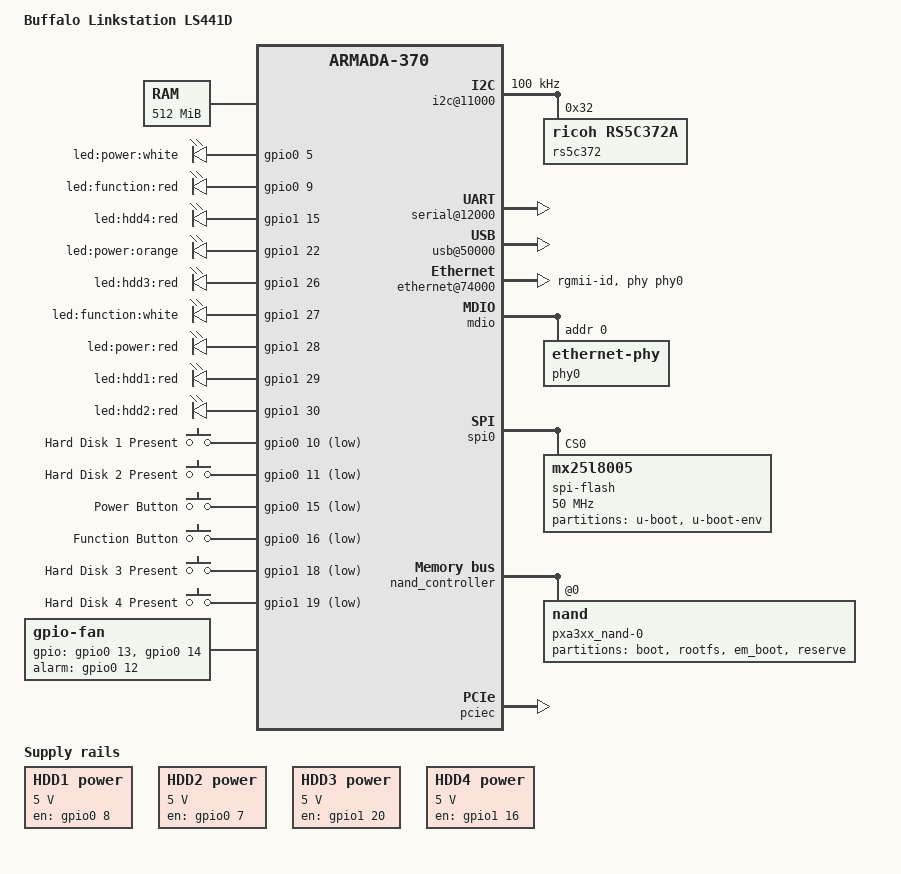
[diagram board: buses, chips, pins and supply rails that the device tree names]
// SPDX-License-Identifier: (GPL-2.0+ OR MIT)
/*
* Device Tree file for Buffalo Linkstation LS441D
*
* Jeremy J. Peper, based on device trees created by
* Steve Shih <shihsung@gmail.com> and Toha <tohenk@yahoo.com>
*
*/

/dts-v1/;

#include <dt-bindings/input/input.h>
#include <dt-bindings/gpio/gpio.h>
#include "armada-370.dtsi"

/ {
	model = "Buffalo Linkstation LS441D";
	compatible = "buffalo,ls441d", "marvell,armada370", "marvell,armada-370-xp";

	chosen
	{
		bootargs = "earlyprintk boot=local";
		stdout-path = "serial0:115200n8";
	};

	memory
	{
		device_type = "memory";
		reg = <0x00000000 0x20000000>; /* 512 MB */
	};

	soc
	{
		ranges = <MBUS_ID(0xf0, 0x01) 0 0xd0000000 0x100000
			MBUS_ID(0x01, 0xe0) 0 0xfff00000 0x100000
			MBUS_ID(0x09, 0x01) 0 0xf1100000 0x10000>;

		internal-regs
		{
			rtc@10300
			{
				status = "disabled";
			};

			i2c@11000
			{
				status = "okay";
				clock-frequency = <100000>;

				rs5c372: rs5c372@32
				{
					compatible = "ricoh,rs5c372a";
					reg = <0x32>;
				};
			};

			serial@12000
			{
				status = "okay";
			};

			timer@20300
			{
				status = "okay";
			};

			usb@50000
			{
				status = "okay";
			};

			ethernet@74000
			{
				status = "okay";
				phy = <&phy0>;
				phy-mode = "rgmii-id";
			};
		};
	};

	regulators
	{
		compatible = "simple-bus";
		#address-cells = <1>;
		#size-cells = <0>;
		pinctrl-0 = <&hdd_pwr1 &hdd_pwr2 &hdd_pwr3 &hdd_pwr4>;
		pinctrl-names = "default";

		regulator@1
		{
			compatible = "regulator-fixed";
			reg = <1>;
			regulator-name = "HDD1 power";
			regulator-min-microvolt = <5000000>;
			regulator-max-microvolt = <5000000>;
			enable-active-high;
			regulator-always-on;
			regulator-boot-on;
			gpio = <&gpio0 8 GPIO_ACTIVE_HIGH>;
		};

		regulator@2
		{
			compatible = "regulator-fixed";
			reg = <2>;
			regulator-name = "HDD2 power";
			regulator-min-microvolt = <5000000>;
			regulator-max-microvolt = <5000000>;
			enable-active-high;
			regulator-always-on;
			regulator-boot-on;
			gpio = <&gpio0 7 GPIO_ACTIVE_HIGH>;
		};

		regulator@3
		{
			compatible = "regulator-fixed";
			reg = <3>;
			regulator-name = "HDD3 power";
			regulator-min-microvolt = <5000000>;
			regulator-max-microvolt = <5000000>;
			enable-active-high;
			regulator-always-on;
			regulator-boot-on;
			gpio = <&gpio1 20 GPIO_ACTIVE_HIGH>;
		};

		regulator@4
		{
			compatible = "regulator-fixed";
			reg = <4>;
			regulator-name = "HDD4 power";
			regulator-min-microvolt = <5000000>;
			regulator-max-microvolt = <5000000>;
			enable-active-high;
			regulator-always-on;
			regulator-boot-on;
			gpio = <&gpio1 16 GPIO_ACTIVE_HIGH>;
		};
	};

	gpio-leds
	{
		compatible = "gpio-leds";
		pinctrl-names = "default";
		pinctrl-0 = <&power_led_white &power_led_red &power_led_orange &function_led_white &function_led_red &hdd1_led_red &hdd2_led_red &hdd3_led_red &hdd4_led_red>;

		power-led-white
		{
			label = "led:power:white";
			gpios = <&gpio0 5 GPIO_ACTIVE_HIGH>;
			default-state = "on";
		};

		function-led-red
		{
			label = "led:function:red";
			gpios = <&gpio0 9 GPIO_ACTIVE_HIGH>;
			default-state = "off";
		};

		hdd4-led-red
		{
			label = "led:hdd4:red";
			gpios = <&gpio1 15 GPIO_ACTIVE_HIGH>;
			default-state = "off";
		};

		power-led-orange
		{
			label = "led:power:orange";
			gpios = <&gpio1 22 GPIO_ACTIVE_HIGH>;
			default-state = "off";
		};

		hdd3-led-red
		{
			label = "led:hdd3:red";
			gpios = <&gpio1 26 GPIO_ACTIVE_HIGH>;
			default-state = "off";
		};

		function-led-white
		{
			label = "led:function:white";
			gpios = <&gpio1 27 GPIO_ACTIVE_HIGH>;
			default-state = "off";
		};

		power-led-red
		{
			label = "led:power:red";
			gpios = <&gpio1 28 GPIO_ACTIVE_HIGH>;
			default-state = "off";
		};

		hdd1-led-red
		{
			label = "led:hdd1:red";
			gpios = <&gpio1 29 GPIO_ACTIVE_HIGH>;
			default-state = "off";
		};

		hdd2-led-red
		{
			label = "led:hdd2:red";
			gpios = <&gpio1 30 GPIO_ACTIVE_HIGH>;
			default-state = "off";
		};
	};

	restart_poweroff
	{
		compatible = "restart-poweroff";
	};

	gpio-keys
	{
		compatible = "gpio-keys";
		pinctrl-0 = <&hdd1_present &hdd2_present &hdd3_present &hdd4_present &power_button &function_button>;
		pinctrl-names = "default";

		hdd1-present
		{
			label = "Hard Disk 1 Present";
			linux,code = <KEY_PROG1>;
			gpios = <&gpio0 10 GPIO_ACTIVE_LOW>;
		};

		hdd2-present
		{
			label = "Hard Disk 2 Present";
			linux,code = <KEY_PROG2>;
			gpios = <&gpio0 11 GPIO_ACTIVE_LOW>;

		};

		power-button
		{
			label = "Power Button";
			linux,code = <KEY_ESC>;
			gpios = <&gpio0 15 GPIO_ACTIVE_LOW>;
		};

		function-button
		{
			label = "Function Button";
			linux,code = <KEY_OPTION>;
			gpios = <&gpio0 16 GPIO_ACTIVE_LOW>;
		};

		hdd3-present
		{
			label = "Hard Disk 3 Present";
			linux,code = <KEY_PROG3>;
			gpios = <&gpio1 18 GPIO_ACTIVE_LOW>;
		};

		hdd4-present
		{
			label = "Hard Disk 4 Present";
			linux,code = <KEY_PROG4>;
			gpios = <&gpio1 19 GPIO_ACTIVE_LOW>;
		};
	};

	gpio-fan
	{
		compatible = "gpio-fan";
		pinctrl-0 = <&fan_low &fan_high &fan_alarm>;
		pinctrl-names = "default";
		gpios = <&gpio0 13 GPIO_ACTIVE_HIGH
			 &gpio0 14 GPIO_ACTIVE_HIGH>;
		gpio-fan,speed-map = <0    3
				      1100 2
				      1600 1
				      2050 0>;
		alarm-gpios = <&gpio0 12 GPIO_ACTIVE_HIGH>;
	};
};

&mdio
{
	phy0: ethernet-phy@0
	{
		reg = <0>;
		//LED0: on/blink on act, LED1: off (not connected) LED2: Force off (connected to power button gpio, signals shutdown/restart)
		marvell,reg-init = <0x3 0x10 0xf000 0x0881>;
	};
};

&spi0
{
	status = "okay";
	pinctrl-0 = <&spi0_pins2>;

	spi-flash@0
	{
		#address-cells = <1>;
		#size-cells = <1>;
		compatible = "mx25l8005", "jedec,spi-nor";
		reg = <0>;
		spi-max-frequency = <50000000>;

		partition@00000
		{
			label = "u-boot";
			reg = <0x00000 0xf0000>;
		};

		partition@f0000
		{
			label = "u-boot-env";
			reg = <0xf0000 0x10000>;
		};
	};
};

&nand_controller
{
	status = "okay";

	nand@0
	{
		reg = <0>;
		label = "pxa3xx_nand-0";
		nand-rb = <0>;
		marvell,nand-keep-config;
		nand-on-flash-bbt;
		nand-ecc-strength = <4>;
		nand-ecc-step-size = <512>;
	
		partitions
		{
			compatible = "fixed-partitions";
			#address-cells = <1>;
			#size-cells = <1>;

			partition@0
			{
				label = "boot";
				reg = <0x00000000 0x02000000>;  /* 32MB */
			};

			partition@2000000
			{
				label = "rootfs";
				reg = <0x02000000 0x17e00000>;  /* 382MB */
			};

			partition@19e00000
			{
				label = "em_boot";
				reg = <0x19e00000 0x02000000>;  /* 32MB */
			};

			partition@1be00000
			{
				label = "reserve";
				reg = <0x1be00000 0x4200000>;  /* 66MB */
			};
			
		};
	};
};

&pciec
{
	status = "okay";
	
	pcie@1,0
	{
		/* Port 0, Lane 0 */
		status = "okay";
	};

	pcie@2,0
	{
		/* Port 1, Lane 0 */
		status = "okay";
	};
};

&pinctrl
{
	power_led_white: power-led-white
	{
		marvell,pins = "mpp5";
		marvell,function = "gpo";
	};

	hdd_pwr2: hdd-pwr2
	{
		marvell,pins = "mpp7";
		marvell,function = "gpo";
	};

	hdd_pwr1: hdd-pwr1
	{
		marvell,pins = "mpp8";
		marvell,function = "gpio";
	};

	function_led_red: function-led-red
	{
		marvell,pins = "mpp9";
		marvell,function = "gpo";
	};

	hdd1_present: hdd1-present
	{
		marvell,pins = "mpp10";
		marvell,function = "gpio";
	};

	hdd2_present: hdd2-present
	{
		marvell,pins = "mpp11";
		marvell,function = "gpio";
	};

	fan_alarm: fan-alarm
	{
		marvell,pins = "mpp12";
		marvell,function = "gpio";
	};

	fan_high: fan-high
	{
		marvell,pins = "mpp13";
		marvell,function = "gpio";
	};
	
	fan_low: fan-low
	{
		marvell,pins = "mpp14";
		marvell,function = "gpio";
	};

	power_button: power-button
	{
		marvell,pins = "mpp15";
		marvell,function = "gpio";
	};
	
	function_button: function-button
	{
		marvell,pins = "mpp16";
		marvell,function = "gpio";
	};
	
	hdd4_led_red: hdd4-led-red
	{
		marvell,pins = "mpp47";
		marvell,function = "gpo";
	};

	hdd_pwr4: hdd-pwr4
	{
		marvell,pins = "mpp49";
		marvell,function = "gpio";
	};	

	hdd3_present: hdd3-present
	{
		marvell,pins = "mpp50";
		marvell,function = "gpio";
	};

	hdd4_present: hdd4-present
	{
		marvell,pins = "mpp51";
		marvell,function = "gpio";
	};

	hdd_pwr3: hdd-pwr3
	{
		marvell,pins = "mpp52";
		marvell,function = "gpio";	
	};

	power_led_orange: power-led-orange
	{
		marvell,pins = "mpp54";
		marvell,function = "gpo";
	};

	hdd3_led_red: hdd3-led-red
	{
		marvell,pins = "mpp58";
		marvell,function = "gpio";
	};

	function_led_white: function-led-white
	{
		marvell,pins = "mpp59";
		marvell,function = "gpo";
	};

	power_led_red: power-led-red
	{
		marvell,pins = "mpp60";
		marvell,function = "gpio";
	};

	hdd1_led_red: hdd1-led-red
	{
		marvell,pins = "mpp61";
		marvell,function = "gpo";
	};
	
	hdd2_led_red: hdd2-led-red
	{
		marvell,pins = "mpp62";
		marvell,function = "gpio";
	};
};
